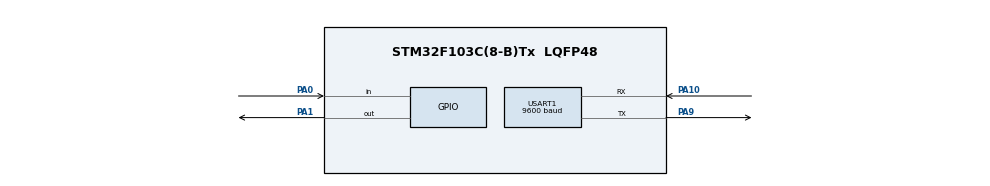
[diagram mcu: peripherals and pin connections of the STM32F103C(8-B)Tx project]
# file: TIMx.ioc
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Mcu.Family=STM32F1
Mcu.Name=STM32F103C(8-B)Tx
Mcu.Package=LQFP48
NVIC.PriorityGroup=NVIC_PRIORITYGROUP_4
PA0-WKUP.Signal=GPIO_Input
PA1.Signal=GPIO_Output
PA10.Mode=Asynchronous
PA10.Signal=USART1_RX
PA13.Mode=Serial_Wire
PA13.Signal=SYS_JTMS-SWDIO
PA14.Mode=Serial_Wire
PA14.Signal=SYS_JTCK-SWCLK
PA9.Mode=Asynchronous
PA9.Signal=USART1_TX
ProjectManager.HeapSize=0x200
ProjectManager.StackSize=0x400
ProjectManager.TargetToolchain=MDK-ARM V5.32
RCC.APB1Freq_Value=8000000
RCC.APB2Freq_Value=8000000
TIM1.Period=999
TIM1.Prescaler=3
USART1.BaudRate=9600
USART1.VirtualMode=VM_ASYNC
VP_TIM1_VS_ClockSourceINT.Mode=Internal
board=custom

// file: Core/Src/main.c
/* USER CODE BEGIN Header */
/**
  ******************************************************************************
  * @file           : main.c
  * @brief          : Main program body
  ******************************************************************************
  * @attention
  *
  * Copyright (c) 2024 STMicroelectronics.
  * All rights reserved.
  *
  * This software is licensed under terms that can be found in the LICENSE file
  * in the root directory of this software component.
  * If no LICENSE file comes with this software, it is provided AS-IS.
  *
  ******************************************************************************
  */
/* USER CODE END Header */
#include "main.h"

/* USER CODE BEGIN Includes */
#define __FILE_INCOMPLETE 1
#include <stdio.h>

/* USER CODE END Includes */

/* USER CODE BEGIN PTD */
struct __FILE
{
  int handle;
  /* Whatever you require here. If the only file you are using is */
  /* standard output using printf() for debugging, no file handling */
  /* is required. */
};
/* FILE is typedef'd in stdio.h. */

/* USER CODE END PTD */

TIM_HandleTypeDef htim1;

UART_HandleTypeDef huart1;

void SystemClock_Config(void);
static void MX_GPIO_Init(void);
static void MX_TIM1_Init(void);
static void MX_USART1_UART_Init(void);
/* USER CODE BEGIN PFP */
FILE __stdout;
int fputc(int ch, FILE *f)
{
  HAL_UART_Transmit(&huart1, (uint8_t *) &ch, 1, 100);
  return ch;
}
/* USER CODE END PFP */

int main(void)
{

  /* MCU Configuration--------------------------------------------------------*/

  /* Reset of all peripherals, Initializes the Flash interface and the Systick. */
  HAL_Init();

  /* Configure the system clock */
  SystemClock_Config();

  /* Initialize all configured peripherals */
  MX_GPIO_Init();
  MX_TIM1_Init();
  MX_USART1_UART_Init();

  /* Infinite loop */
  /* USER CODE BEGIN WHILE */
	HAL_TIM_Base_Start(&htim1);
	uint32_t SRF_04 = 0;
	float SRF_distance = 0;
  while (1)
  {
		//__HAL_TIM_CLEAR_FLAG(&htim1, TIM_FLAG_UPDATE);
		/*	if ((__HAL_TIM_GET_FLAG(&htim1, TIM_FLAG_UPDATE)) == GPIO_PIN_SET)
		{
			HAL_GPIO_TogglePin(GPIOA, GPIO_PIN_0);
			__HAL_TIM_CLEAR_FLAG(&htim1, TIM_FLAG_UPDATE);
		};*/
		HAL_GPIO_WritePin(GPIOA, GPIO_PIN_0, GPIO_PIN_SET); //Trigger
		__HAL_TIM_SET_COUNTER(&htim1, 0);
		while(__HAL_TIM_GET_COUNTER(&htim1) < 3);

		while (HAL_GPIO_ReadPin(GPIOA, GPIO_PIN_1) == GPIO_PIN_RESET); //Echo
		__HAL_TIM_SET_COUNTER(&htim1, 0);
		while (HAL_GPIO_ReadPin(GPIOA, GPIO_PIN_1) == GPIO_PIN_SET);
		SRF_04 = 4*__HAL_TIM_GET_COUNTER(&htim1);
		SRF_distance = SRF_04 / 58;
		printf("Ket Qua = %f", SRF_distance);
    /* USER CODE END WHILE */
		HAL_Delay(400);
  }
}

void SystemClock_Config(void)
{
  RCC_OscInitTypeDef RCC_OscInitStruct = {0};
  RCC_ClkInitTypeDef RCC_ClkInitStruct = {0};

  /** Initializes the RCC Oscillators according to the specified parameters
  * in the RCC_OscInitTypeDef structure.
  */
  RCC_OscInitStruct.OscillatorType = RCC_OSCILLATORTYPE_HSI;
  RCC_OscInitStruct.HSIState = RCC_HSI_ON;
  RCC_OscInitStruct.HSICalibrationValue = RCC_HSICALIBRATION_DEFAULT;
  RCC_OscInitStruct.PLL.PLLState = RCC_PLL_NONE;
  if (HAL_RCC_OscConfig(&RCC_OscInitStruct) != HAL_OK)
  {
    Error_Handler();
  }

  /** Initializes the CPU, AHB and APB buses clocks
  */
  RCC_ClkInitStruct.ClockType = RCC_CLOCKTYPE_HCLK|RCC_CLOCKTYPE_SYSCLK
                              |RCC_CLOCKTYPE_PCLK1|RCC_CLOCKTYPE_PCLK2;
  RCC_ClkInitStruct.SYSCLKSource = RCC_SYSCLKSOURCE_HSI;
  RCC_ClkInitStruct.AHBCLKDivider = RCC_SYSCLK_DIV1;
  RCC_ClkInitStruct.APB1CLKDivider = RCC_HCLK_DIV1;
  RCC_ClkInitStruct.APB2CLKDivider = RCC_HCLK_DIV1;

  if (HAL_RCC_ClockConfig(&RCC_ClkInitStruct, FLASH_LATENCY_0) != HAL_OK)
  {
    Error_Handler();
  }
}

static void MX_TIM1_Init(void)
{

  TIM_ClockConfigTypeDef sClockSourceConfig = {0};
  TIM_MasterConfigTypeDef sMasterConfig = {0};

  htim1.Instance = TIM1;
  htim1.Init.Prescaler = 3;
  htim1.Init.CounterMode = TIM_COUNTERMODE_UP;
  htim1.Init.Period = 999;
  htim1.Init.ClockDivision = TIM_CLOCKDIVISION_DIV1;
  htim1.Init.RepetitionCounter = 0;
  htim1.Init.AutoReloadPreload = TIM_AUTORELOAD_PRELOAD_DISABLE;
  if (HAL_TIM_Base_Init(&htim1) != HAL_OK)
  {
    Error_Handler();
  }
  sClockSourceConfig.ClockSource = TIM_CLOCKSOURCE_INTERNAL;
  if (HAL_TIM_ConfigClockSource(&htim1, &sClockSourceConfig) != HAL_OK)
  {
    Error_Handler();
  }
  sMasterConfig.MasterOutputTrigger = TIM_TRGO_RESET;
  sMasterConfig.MasterSlaveMode = TIM_MASTERSLAVEMODE_DISABLE;
  if (HAL_TIMEx_MasterConfigSynchronization(&htim1, &sMasterConfig) != HAL_OK)
  {
    Error_Handler();
  }

}

static void MX_USART1_UART_Init(void)
{

  huart1.Instance = USART1;
  huart1.Init.BaudRate = 9600;
  huart1.Init.WordLength = UART_WORDLENGTH_8B;
  huart1.Init.StopBits = UART_STOPBITS_1;
  huart1.Init.Parity = UART_PARITY_NONE;
  huart1.Init.Mode = UART_MODE_TX_RX;
  huart1.Init.HwFlowCtl = UART_HWCONTROL_NONE;
  huart1.Init.OverSampling = UART_OVERSAMPLING_16;
  if (HAL_UART_Init(&huart1) != HAL_OK)
  {
    Error_Handler();
  }

}

static void MX_GPIO_Init(void)
{
  GPIO_InitTypeDef GPIO_InitStruct = {0};

  /* GPIO Ports Clock Enable */
  __HAL_RCC_GPIOA_CLK_ENABLE();

  /*Configure GPIO pin Output Level */
  HAL_GPIO_WritePin(GPIOA, GPIO_PIN_1, GPIO_PIN_RESET);

  /*Configure GPIO pin : PA0 */
  GPIO_InitStruct.Pin = GPIO_PIN_0;
  GPIO_InitStruct.Mode = GPIO_MODE_INPUT;
  GPIO_InitStruct.Pull = GPIO_NOPULL;
  HAL_GPIO_Init(GPIOA, &GPIO_InitStruct);

  /*Configure GPIO pin : PA1 */
  GPIO_InitStruct.Pin = GPIO_PIN_1;
  GPIO_InitStruct.Mode = GPIO_MODE_OUTPUT_PP;
  GPIO_InitStruct.Pull = GPIO_NOPULL;
  GPIO_InitStruct.Speed = GPIO_SPEED_FREQ_LOW;
  HAL_GPIO_Init(GPIOA, &GPIO_InitStruct);

}

void Error_Handler(void)
{
  __disable_irq();
  while (1)
  {
  }
}
